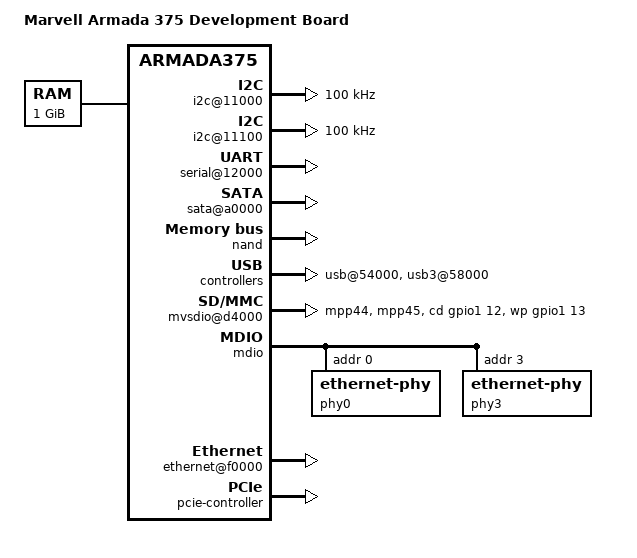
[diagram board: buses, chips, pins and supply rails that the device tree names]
/*
 * Device Tree file for Marvell Armada 375 evaluation board
 * (DB-88F6720)
 *
 *  Copyright (C) 2014 Marvell
 *
 * Gregory CLEMENT <gregory.clement@free-electrons.com>
 * Thomas Petazzoni <thomas.petazzoni@free-electrons.com>
 *
 * This file is dual-licensed: you can use it either under the terms
 * of the GPL or the X11 license, at your option. Note that this dual
 * licensing only applies to this file, and not this project as a
 * whole.
 *
 *  a) This file is free software; you can redistribute it and/or
 *     modify it under the terms of the GNU General Public License as
 *     published by the Free Software Foundation; either version 2 of the
 *     License, or (at your option) any later version.
 *
 *     This file is distributed in the hope that it will be useful
 *     but WITHOUT ANY WARRANTY; without even the implied warranty of
 *     MERCHANTABILITY or FITNESS FOR A PARTICULAR PURPOSE.  See the
 *     GNU General Public License for more details.
 *
 * Or, alternatively
 *
 *  b) Permission is hereby granted, free of charge, to any person
 *     obtaining a copy of this software and associated documentation
 *     files (the "Software"), to deal in the Software without
 *     restriction, including without limitation the rights to use
 *     copy, modify, merge, publish, distribute, sublicense, and/or
 *     sell copies of the Software, and to permit persons to whom the
 *     Software is furnished to do so, subject to the following
 *     conditions:
 *
 *     The above copyright notice and this permission notice shall be
 *     included in all copies or substantial portions of the Software.
 *
 *     THE SOFTWARE IS PROVIDED , WITHOUT WARRANTY OF ANY KIND
 *     EXPRESS OR IMPLIED, INCLUDING BUT NOT LIMITED TO THE WARRANTIES
 *     OF MERCHANTABILITY, FITNESS FOR A PARTICULAR PURPOSE AND
 *     NONINFRINGEMENT. IN NO EVENT SHALL THE AUTHORS OR COPYRIGHT
 *     HOLDERS BE LIABLE FOR ANY CLAIM, DAMAGES OR OTHER LIABILITY
 *     WHETHER IN AN ACTION OF CONTRACT, TORT OR OTHERWISE, ARISING
 *     FROM, OUT OF OR IN CONNECTION WITH THE SOFTWARE OR THE USE OR
 *     OTHER DEALINGS IN THE SOFTWARE.
 */

/dts-v1/;
#include <dt-bindings/gpio/gpio.h>
#include "armada-375.dtsi"

/ {
	model = "Marvell Armada 375 Development Board";
	compatible = "marvell,a375-db", "marvell,armada375";

	chosen {
		bootargs = "console=ttyS0,115200 earlyprintk";
	};

	memory {
		device_type = "memory";
		reg = <0x00000000 0x40000000>; /* 1 GB */
	};

	soc {
		ranges = <MBUS_ID(0xf0, 0x01) 0 0xf1000000 0x100000
			  MBUS_ID(0x01, 0x1d) 0 0xfff00000 0x100000>;

		internal-regs {
			spi@10600 {
				pinctrl-0 = <&spi0_pins>;
				pinctrl-names = "default";
				/*
				 * SPI conflicts with NAND, so we disable it
				 * here, and select NAND as the enabled device
				 * by default.
				 */
				status = "disabled";

				spi-flash@0 {
					#address-cells = <1>;
					#size-cells = <1>;
					compatible = "n25q128a13";
					reg = <0>; /* Chip select 0 */
					spi-max-frequency = <108000000>;
				};
			};

			i2c@11000 {
				status = "okay";
				clock-frequency = <100000>;
				pinctrl-0 = <&i2c0_pins>;
				pinctrl-names = "default";
			};

			i2c@11100 {
				status = "okay";
				clock-frequency = <100000>;
				pinctrl-0 = <&i2c1_pins>;
				pinctrl-names = "default";
			};

			serial@12000 {
				status = "okay";
			};

			pinctrl {
				sdio_st_pins: sdio-st-pins {
					marvell,pins = "mpp44", "mpp45";
					marvell,function = "gpio";
				};
			};

			sata@a0000 {
				status = "okay";
				nr-ports = <2>;
			};

			nand: nand@d0000 {
				pinctrl-0 = <&nand_pins>;
				pinctrl-names = "default";
				status = "okay";
				num-cs = <1>;
				marvell,nand-keep-config;
				marvell,nand-enable-arbiter;
				nand-on-flash-bbt;
				nand-ecc-strength = <4>;
				nand-ecc-step-size = <512>;

				partition@0 {
					label = "U-Boot";
					reg = <0 0x800000>;
				};
				partition@800000 {
					label = "Linux";
					reg = <0x800000 0x800000>;
				};
				partition@1000000 {
					label = "Filesystem";
					reg = <0x1000000 0x3f000000>;
				};
			};

			usb@54000 {
				status = "okay";
			};

			usb3@58000 {
				status = "okay";
			};

			mvsdio@d4000 {
				pinctrl-0 = <&sdio_pins &sdio_st_pins>;
				pinctrl-names = "default";
				status = "okay";
				cd-gpios = <&gpio1 12 GPIO_ACTIVE_HIGH>;
				wp-gpios = <&gpio1 13 GPIO_ACTIVE_HIGH>;
			};

			mdio {
				phy0: ethernet-phy@0 {
					reg = <0>;
				};

				phy3: ethernet-phy@3 {
					reg = <3>;
				};
			};

			ethernet@f0000 {
				status = "okay";

				eth0@c4000 {
					status = "okay";
					phy = <&phy0>;
					phy-mode = "rgmii-id";
				};

				eth1@c5000 {
					status = "okay";
					phy = <&phy3>;
					phy-mode = "gmii";
				};
			};
		};

		pcie-controller {
			status = "okay";
			/*
			 * The two PCIe units are accessible through
			 * standard PCIe slots on the board.
			 */
			pcie@1,0 {
				/* Port 0, Lane 0 */
				status = "okay";
			};
			pcie@2,0 {
				/* Port 1, Lane 0 */
				status = "okay";
			};
		};
	};
};
